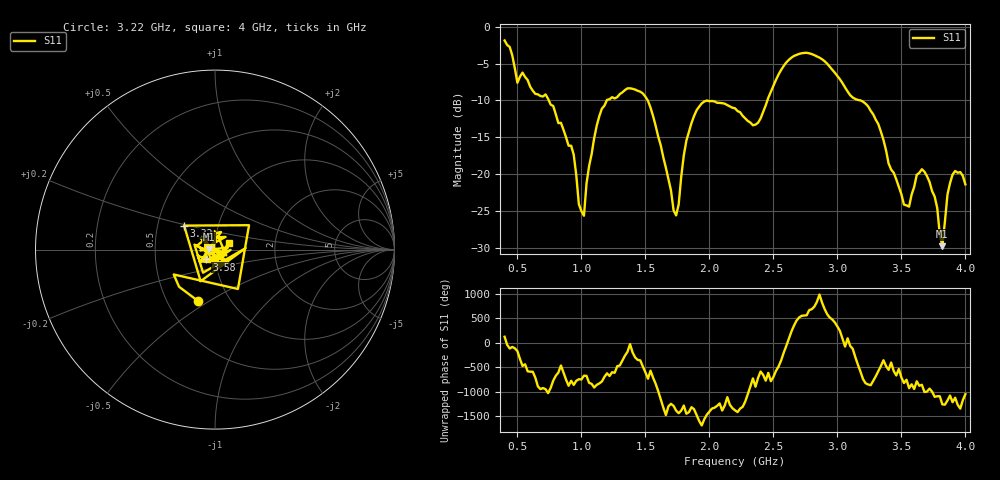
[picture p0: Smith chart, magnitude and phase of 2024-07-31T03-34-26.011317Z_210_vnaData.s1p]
!Created with skrf (http://scikit-rf.org).
# Hz S RI R 50.0
!freq ReS11 ImS11
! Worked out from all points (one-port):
!   181 points, 400 MHz to 4 GHz, reference 50 ohm
!   lowest |S11| = -29.8 dB at 3.82 GHz (marker M1), VSWR 1.07, Z = 46.9 + j0.133 ohm
!   |S11| at or under -10 dB: 745 MHz to 1.198 GHz (453.4 MHz wide, 46.7 % of centre); 1.518 GHz to 2.453 GHz (935.4 MHz wide, 47.1 % of centre); 3.178 GHz to end of sweep
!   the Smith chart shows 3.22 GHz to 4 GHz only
!   S11 on the Smith chart (normalised r, x): 3.22 GHz: 0.71, -0.44; 3.32 GHz: 0.68, +0.19; 3.58 GHz: 0.90, -0.10; 4 GHz: 1.16, +0.09
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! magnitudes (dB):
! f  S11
! 400 MHz  -1.9
! 500 MHz  -7.6
! 720 MHz  -9.2
! 860 MHz  -14.0
! 940 MHz  -17.4
! 980 MHz  -24.1
! 1.02 GHz  -25.7
! 1.14 GHz  -12.1
! 1.3 GHz  -9.1
! 1.52 GHz  -10.1
! 1.72 GHz  -24.9
! 1.76 GHz  -24.1
! 1.82 GHz  -15.5
! 1.9 GHz  -11.3
! 2.2 GHz  -11.1
! 2.38 GHz  -13.0
! 2.66 GHz  -4.0
! 2.88 GHz  -4.4
! 3.1 GHz  -9.3
! 3.22 GHz  -10.4
! 3.32 GHz  -13.2
! 3.56 GHz  -24.4
! 3.58 GHz  -22.8
! 3.68 GHz  -19.7
! 3.76 GHz  -23.1
! 3.82 GHz  -29.8
! 3.9 GHz  -20.1
! 4 GHz  -21.4
